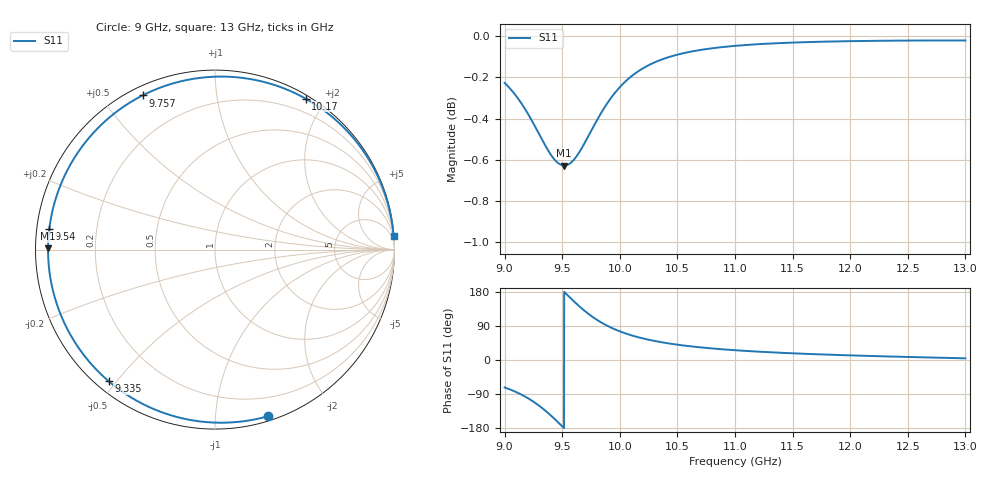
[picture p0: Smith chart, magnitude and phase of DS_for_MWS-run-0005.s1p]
! TOUCHSTONE file generated by CST DESIGN STUDIO
! Date and time: Tue Feb  4 13:08:11 2025
! Project name: C:\Work\MatlabApps\UnitCellOptimizationMatlab\CST\unitcell.cst
! Tree item: Tasks\Sweep1\SPara1\S-Parameters
! Header version: 2024
! Port assignment regex: !\s*Touchstone port\s*([0-9]+)\s*=\s*(CST MWS port|CST DES external port|CST DES block port)\s*(.+)\s* \(\"(.*)\"\)(\s*mode\s*([0-9]+))?.*
! Touchstone port assignment:
! Touchstone port 1 = CST DES external port 1 ("")
# GHz S MA R 50
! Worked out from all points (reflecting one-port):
!   4001 points, 9 GHz to 13 GHz, reference 50 ohm
!   lowest |S11| = -0.6 dB at 9.518 GHz (marker M1), VSWR 27.66, Z = 1.81 + j0.213 ohm
!   phase of S11 starts at -72 deg and turns -283 deg over the sweep
!   S11 on the Smith chart (normalised r, x): 9 GHz: 0.04, -1.37; 9.335 GHz: 0.04, -0.48; 9.54 GHz: 0.04, +0.06; 9.757 GHz: 0.04, +0.63; 10.17 GHz: 0.04, +1.77; 13 GHz: 1, +26
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9  0.9743 -72.4
9.091  0.9679 -83.4
9.195  0.9583 -99.5
9.268  0.9503 -113.7
9.335  0.9427 -129.0
9.38  0.9379 -140.6
9.426  0.9338 -153.3
9.464  0.9315 -164.3
9.5  0.9304 -175.1
9.518  0.9302 179.5
9.54  0.9304 172.9
9.594  0.9327 156.9
9.654  0.9377 140.1
9.705  0.9431 127.1
9.757  0.9491 115.1
9.808  0.9548 104.7
9.863  0.9605 94.9
10  0.9719 75.6
10.083  0.9769 66.8
10.173  0.9811 59.0
10.322  0.986 49.1
10.5  0.9898 40.4
10.722  0.9926 32.7
11  0.9946 25.8
11.5  0.9965 17.6
12  0.9973 12.2
12.5  0.9976 8.0
13  0.9976 4.5
